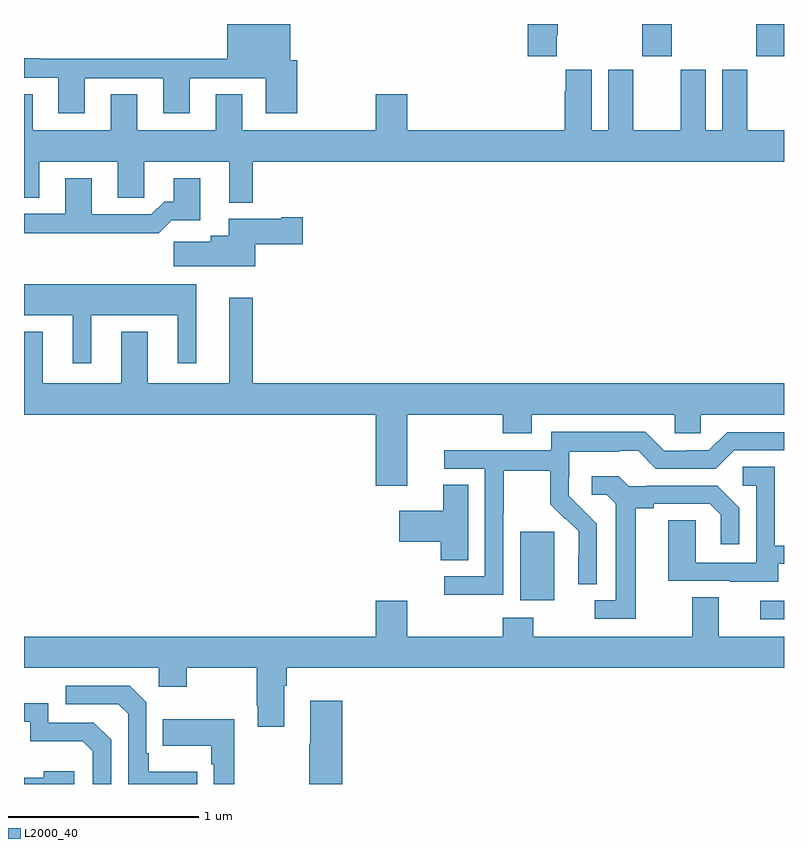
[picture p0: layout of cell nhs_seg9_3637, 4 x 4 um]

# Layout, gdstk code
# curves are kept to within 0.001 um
import gdstk
lib = gdstk.Library(unit=1e-6, precision=1e-09)
def R(c, l, rs):  # rectangles x0, y0, x1, y1
    for r in rs: c.add(gdstk.rectangle(r[:2], r[2:], *l))
def P(c, l, *ps):  # polygons
    for p in ps: c.add(gdstk.Polygon(p, *l))
L2000_40 = (2000, 40)

nhs_seg9_3637 = lib.new_cell('nhs_seg9_3637')
R(nhs_seg9_3637, L2000_40, [(322.875,1171.368,323,1171.464), (321.611,1171.466,321.79,1171.827), (322.255,1174.329,322.41,1174.5), (322.855,1174.329,323,1174.5)])
P(nhs_seg9_3637, L2000_40, [(319.321,1174.215),(319.733,1174.215),(319.733,1174.029),(319.873,1174.029),(319.873,1174.215),(320.273,1174.215),(320.273,1174.029),(320.438,1174.029),(320.438,1174.308),(320.401,1174.308),(320.401,1174.5),(320.069,1174.5),(320.069,1174.316),(319.085,1174.316),(319.085,1174.319),(319,1174.319),(319,1174.218),(319.181,1174.218),(319.181,1174.029),(319.321,1174.029)],
  [(321.805,1174.441),(321.81,1174.441),(321.81,1174.5),(321.65,1174.5),(321.65,1174.329),(321.805,1174.329)],
  [(320.203,1173.776),(323,1173.776),(323,1173.94),(322.807,1173.94),(322.807,1174.258),(322.676,1174.258),(322.676,1173.94),(322.588,1173.94),(322.588,1174.258),(322.457,1174.258),(322.457,1173.94),(322.207,1173.94),(322.207,1174.258),(322.076,1174.258),(322.076,1173.94),(321.988,1173.94),(321.988,1174.258),(321.851,1174.258),(321.851,1174.145),(321.845,1174.145),(321.845,1173.94),(321.016,1173.94),(321.016,1174.129),(320.852,1174.129),(320.852,1173.94),(320.149,1173.94),(320.149,1174.13),(320.009,1174.13),(320.009,1173.94),(319.597,1173.94),(319.597,1174.13),(319.457,1174.13),(319.457,1173.94),(319.045,1173.94),(319.045,1174.13),(319,1174.13),(319,1173.586),(319.081,1173.586),(319.081,1173.776),(319.493,1173.776),(319.493,1173.586),(319.632,1173.586),(319.632,1173.776),(320.081,1173.776),(320.081,1173.56),(320.203,1173.56)],
  [(319.778,1173.467),(319.927,1173.467),(319.927,1173.688),(319.787,1173.688),(319.787,1173.565),(319.738,1173.565),(319.671,1173.498),(319.357,1173.498),(319.357,1173.688),(319.217,1173.688),(319.217,1173.501),(319,1173.501),(319,1173.4),(319.453,1173.4),(319.453,1173.398),(319.709,1173.398)],
  [(320.218,1173.341),(320.467,1173.341),(320.467,1173.483),(320.354,1173.483),(320.354,1173.475),(320.078,1173.475),(320.078,1173.385),(319.982,1173.385),(319.982,1173.353),(319.788,1173.353),(319.788,1173.224),(320.218,1173.224)],
  [(319.354,1172.966),(319.808,1172.966),(319.808,1172.715),(319.906,1172.715),(319.906,1173.13),(319,1173.13),(319,1172.966),(319.256,1172.966),(319.256,1172.715),(319.354,1172.715)],
  [(319.511,1172.881),(319.511,1172.608),(319.099,1172.608),(319.099,1172.881),(319,1172.881),(319,1172.444),(320.852,1172.444),(320.852,1172.07),(321.016,1172.07),(321.016,1172.444),(321.521,1172.444),(321.521,1172.345),(321.673,1172.345),(321.673,1172.444),(322.425,1172.444),(322.425,1172.346),(322.563,1172.346),(322.563,1172.444),(323,1172.444),(323,1172.608),(320.203,1172.608),(320.203,1173.058),(320.081,1173.058),(320.081,1172.608),(319.651,1172.608),(319.651,1172.881)],
  [(321.522,1171.924),(321.525,1171.924),(321.525,1172.148),(321.769,1172.148),(321.769,1171.973),(321.846,1171.896),(321.849,1171.899),(321.92,1171.829),(321.92,1171.706),(321.918,1171.706),(321.918,1171.552),(322.014,1171.552),(322.014,1171.87),(321.868,1172.018),(321.868,1172.115),(321.87,1172.115),(321.87,1172.249),(322.133,1172.249),(322.133,1172.253),(322.233,1172.253),(322.326,1172.16),(322.641,1172.16),(322.737,1172.256),(323,1172.256),(323,1172.352),(322.701,1172.352),(322.605,1172.256),(322.487,1172.256),(322.487,1172.253),(322.371,1172.253),(322.271,1172.353),(321.774,1172.353),(321.774,1172.256),(321.213,1172.256),(321.213,1172.16),(321.426,1172.16),(321.426,1171.593),(321.213,1171.593),(321.213,1171.495),(321.522,1171.495)],
  [(322.969,1171.659),(323,1171.659),(323,1171.755),(322.95,1171.755),(322.95,1172.171),(322.782,1172.171),(322.782,1172.07),(322.854,1172.07),(322.854,1171.665),(322.536,1171.665),(322.536,1171.889),(322.391,1171.889),(322.391,1171.569),(322.715,1171.569),(322.715,1171.565),(322.969,1171.565)],
  [(322.219,1171.952),(322.315,1171.952),(322.315,1171.974),(322.61,1171.974),(322.667,1171.917),(322.667,1171.761),(322.764,1171.761),(322.764,1171.954),(322.648,1172.07),(322.276,1172.07),(322.276,1172.067),(322.182,1172.067),(322.13,1172.119),(321.987,1172.119),(321.987,1172.022),(322.068,1172.022),(322.115,1171.975),(322.115,1171.467),(322.005,1171.467),(322.005,1171.371),(322.219,1171.371)],
  [(321.337,1172.075),(321.206,1172.075),(321.206,1171.939),(320.976,1171.939),(320.976,1171.774),(321.194,1171.774),(321.194,1171.678),(321.337,1171.678)],
  [(320.371,1171.016),(320.384,1171.016),(320.384,1171.112),(323,1171.112),(323,1171.276),(322.657,1171.276),(322.657,1171.484),(322.517,1171.484),(322.517,1171.276),(321.681,1171.276),(321.681,1171.375),(321.521,1171.375),(321.521,1171.276),(321.016,1171.276),(321.016,1171.465),(320.852,1171.465),(320.852,1171.276),(319,1171.276),(319,1171.112),(319.71,1171.112),(319.71,1171.013),(319.857,1171.013),(319.857,1171.112),(320.224,1171.112),(320.224,1170.913),(320.231,1170.913),(320.231,1170.801),(320.371,1170.801)],
  [(319.913,1170.565),(319.657,1170.565),(319.657,1170.661),(319.644,1170.661),(319.644,1170.93),(319.557,1171.017),(319.221,1171.017),(319.221,1170.921),(319.497,1170.921),(319.548,1170.87),(319.548,1170.5),(319.913,1170.5)],
  [(320.675,1170.937),(320.507,1170.937),(320.507,1170.713),(320.5,1170.713),(320.5,1170.5),(320.675,1170.5)],
  [(319.458,1170.732),(319.368,1170.822),(319.128,1170.822),(319.128,1170.924),(319,1170.924),(319,1170.828),(319.032,1170.828),(319.032,1170.725),(319.309,1170.725),(319.362,1170.672),(319.362,1170.5),(319.458,1170.5)],
  [(320.107,1170.841),(319.729,1170.841),(319.729,1170.701),(319.986,1170.701),(319.986,1170.605),(319.998,1170.605),(319.998,1170.5),(320.107,1170.5)],
  [(319.264,1170.568),(319.103,1170.568),(319.103,1170.534),(319,1170.534),(319,1170.5),(319.264,1170.5)])

lib.write_gds('nhs_seg9_3637.gds')
